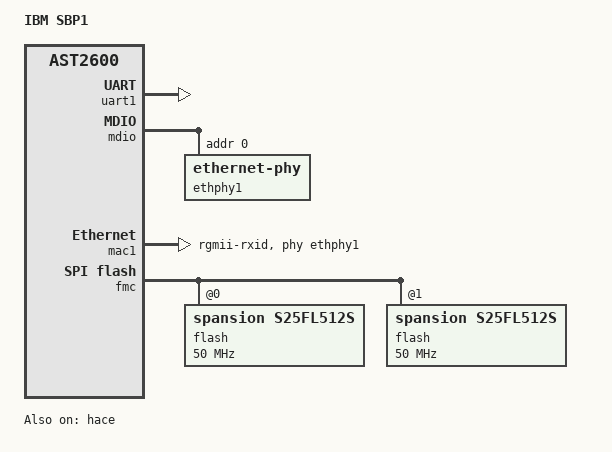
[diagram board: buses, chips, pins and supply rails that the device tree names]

#include "ast2600-fpga.dts"

/ {
	model = "IBM SBP1";
	compatible = "ibm,sbp1-bmc", "aspeed,ast2600";

	chosen {
		stdout-path = &uart1;
	};

	aliases {
		ethernet1 = &mac1;
	};
};

&uart1 {
	u-boot,dm-pre-reloc;
	status = "okay";
};

&uart5 {
	status = "disabled";
};

&mdio {
	pinctrl-names = "default";
	pinctrl-0 = <&pinctrl_mdio1_default &pinctrl_mdio2_default>;
	ethphy1: ethernet-phy@1 {
		reg = <0>;
	};
};

&mac1 {
	status = "okay";
	phy-mode = "rgmii-rxid";
	phy-handle = <&ethphy1>;
	pinctrl-names = "default";
	pinctrl-0 = <&pinctrl_rgmii2_default>;
};

&fmc {
	status = "okay";
	flash@0 {
		compatible = "spansion,s25fl512s", "spi-flash";
		status = "okay";
		spi-max-frequency = <50000000>;
		spi-tx-bus-width = <2>;
		spi-rx-bus-width = <2>;
	};

	flash@1 {
		compatible = "spansion,s25fl512s", "spi-flash";
		status = "okay";
		spi-max-frequency = <50000000>;
		spi-tx-bus-width = <2>;
		spi-rx-bus-width = <2>;
	};
};

&emmc_slot0 {
	status = "disabled";
};

&i2c0 {
	status = "disabled";
};

&i2c3 {
	status = "disabled";
};

&i2c7 {
	status = "disabled";
};

&hace {
	u-boot,dm-pre-reloc;
	status = "okay";
};
